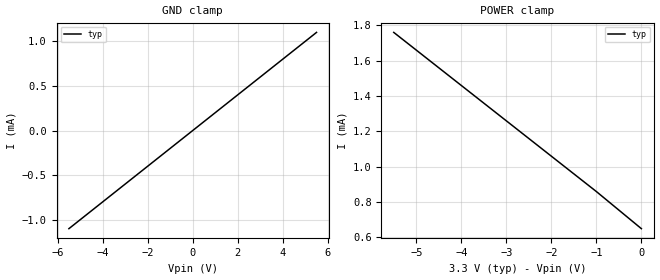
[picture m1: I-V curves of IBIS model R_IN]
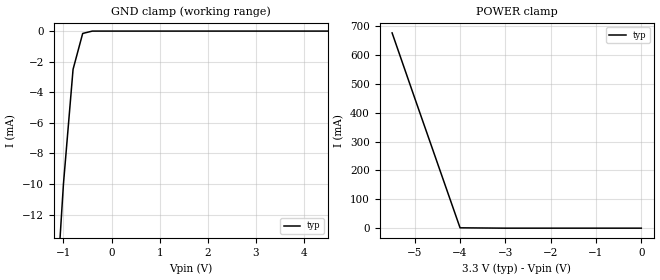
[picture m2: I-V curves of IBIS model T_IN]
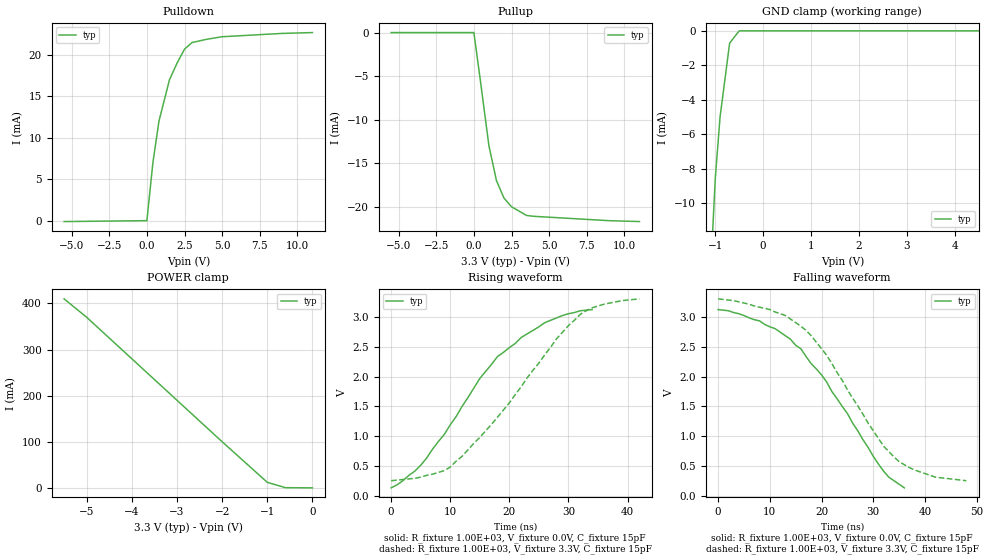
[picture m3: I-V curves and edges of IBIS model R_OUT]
|   Intersil ICL3217
|   24 pin SOIC/SSOP
[IBIS ver]   3.2
[File name]   icl3217.ibs
[File Rev]   2.0
[Date]   July 23, 2003
[Source]   Data used in the IBIS model was gathered from bench
   testing and datasheet specifications. This IBIS model has not
   been software simulated.
[Notes]   This is an IBIS model for EIA-TIA RS-232 Transceiver.
[Disclaimer] Intersil Corporation provides IBIS models as a service to its
                customers, and hereby grants the user of this IBIS model a
                non-exclusive, nontransferable license to use this IBIS model.
                The user shall read this disclaimer and agree to the terms
                herein before using this IBIS model.  If the user does not
                accept these terms, the IBIS model may not be used.  Your use
                of this IBIS model shall serve as acceptance of these terms.
                The user is not granted rights to sell, loan, rent, lease or
                license the IBIS model in whole, in part, or in any modified
                form to anyone other than the user. The user may modify the
                IBIS model to suit their specific application, but all rights
                to derivative works shall belong to Intersil Corporation. This
                IBIS model is provided on an "AS IS" basis. Intersil
                Corporation makes absolutely no warranty with respect to the
                information contained herein. INTERSIL CORPORATION DISCLAIMS,
                AND THE CUSTOMER WAIVES, ALL WARRANTIES, EXPRESSED OR IMPLIED,
                INCLUDING WARRANTIES OF MERCHANTABILITY, NON-INFRINGEMENT, AND
                FITNESS FOR A PARTICULAR PURPOSE OR APPLICATION. The entire
                risk as to quality and performance is with the customer.
                Accordingly, in no event shall Intersil Corporation, its
                subsidiaries, directors, employees, or agents be liable for any
                damages, lost profits, or any other incidental, consequential,
                special, or punitive damages arising out of the use of this
                IBIS model.  Furthermore, Intersil Corporation reserves the
                right to make changes without notice to any IBIS model for any
                reason.  Intersil Corporation does not convey any license under
                patent rights or any other intellectual property rights,
                including those of third parties. Intersil Corporation is not
                obligated to provide maintenance or support for these IBIS
                models.
[Copyright]   (C) Copyright 2003, Intersil Corporation.  All Rights Reserved.
|   Component ICL3217
[Component]   ICL3217
[Manufacturer]   Intersil Corporation
[Package]
|   typ   min   max
R_pkg   0.29   NA   NA
L_pkg   3.10nH   NA   NA
C_pkg   0.21pf   NA   NA
[Pin]  signal_name   model_name   R_pin   L_pin   C_pin
1   T3OUT   T_OUT
2   T1OUT   T_OUT
3   T2OUT   T_OUT
4   R1IN   R_IN
5   R1OUT   R_OUT
6   T2IN   T_IN
7   T1IN   T_IN
8   GND   GND
9   VCC   POWER
10   C1+   NC
11   V+   NC
12   C1-   NC
13   C2+   NC
14   C2-   NC
15   V-   NC
16   R3IN   R_IN
17   R3OUT   R_OUT
18   T3IN   T_IN
19   T4IN   T_IN
20   T5OUT   T_OUT
21   T5IN   T_IN
22   R2OUT   R_OUT
23   R2IN   R_IN
24   T4OUT   T_OUT
| Models and submodels in the file (4): R_IN (Input), T_IN (Input), R_OUT (3-state), T_OUT (3-state)
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|   Receiver Input
[Model]   R_IN
|Signals   R1IN, R2IN, R3IN
Model_type   Input
Enable   Active-High
|   typ   min   max
C_comp   6.90pF   NA   NA
Vinl = 0.6
Vinh = 2.4
[Model Spec]
|   typ   min   max
Vinl   1.2   0.6   NA
Vinh   1.5   NA   2.4
[Temperature Range]   25   -40   85
[Voltage Range]   3.30V   3.00V   5.50V
[POWER Clamp Reference]   3.30V   3.00V   5.50V
[GND Clamp Reference]   0.00V   0.00V   0.00V
[POWER_clamp]
| Note that the[POWER_clamp]voltage table is referenced to Vcc
| and is calculated using Vtable=Vcc - Vmeasured.
|   V   I(typ)   I(min)   I(max)
-5.5V     1.76mA     NA         NA
-5V       1.66mA     NA         NA
-4V       1.46mA     NA         NA
-3V       1.26mA     NA         NA
-2V       1.06mA     NA         NA
-1V       860uA      NA         NA
0V        650uA      NA         NA
[GND_clamp]
|   V   I(typ)   I(min)   I(max)
-5.5V     -1.1mA     NA         NA
3V        600uA      NA         NA
5V        1mA        NA         NA
5.5V      1.1mA      NA         NA
|   Transmitter Input
[Model]   T_IN
|Signals   T1IN, T2IN, T3IN, T4IN, T5IN
Model_type   Input
Enable   Active-High
Vinl = 0.8V
Vinh = 2.0V
|   typ   min   max
C_comp   4.00pF   NA   NA
[Temperature Range]   25   -40   85
[Voltage Range]   3.30V   3.00V   5.50V
[POWER Clamp Reference]   3.30V   3.00V   5.50V
[GND Clamp Reference]   0.00V   0.00V   0.00V
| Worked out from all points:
|   GND clamp passes 1 mA (typ) near -0.67 V on its own axis
[POWER_clamp]
| Note that the[POWER_clamp]voltage table is referenced to Vcc
| and is calculated using Vtable=Vcc - Vmeasured.
|   V   I(typ)   I(min)   I(max)
-5.5V     676mA      NA         NA
-5V       450mA      NA         NA
-4V       1.2mA      NA         NA
-3V       1.25uA     NA         NA
-2V       845nA      NA         NA
-1V       760nA      NA         NA
0V        410nA      NA         NA
[GND_clamp]
|   V   I(typ)   I(min)   I(max)
-5.5V     -258mA     NA         NA
-2V       -60mA      NA         NA
-1V       -10mA      NA         NA
-800mV    -2.5mA     NA         NA
-600mV    -155uA     NA         NA
-400mV    -200nA     NA         NA
5.5V      78.8nA     NA         NA
|   Receiver Output
[Model]   R_OUT
|Signals   R1OUT, R2OUT, R3OUT
Model_type   3-state
Polarity   Inverting
Vref   =   0.00
Rref   =   1.00E+03
Cref   =   15pF
|   typ   min   max
C_comp   3.30pF   NA   NA
[Temperature Range]   25   -40   85
[Voltage Range]   3.30V   3.00V   5.50V
[Pullup Reference]   3.30V   3.00V   5.50V
[Pulldown Reference]   0.00V   0.00V   0.00V
[POWER Clamp Reference]   3.30V   3.00V   5.50V
[GND Clamp Reference]   0.00V   0.00V   0.00V
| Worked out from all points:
|   slope of the pulldown table from 0 to 0.495 V, typ, clamps not added: 60.5 ohm
|   slope of the pullup table from 0 to 0.495 V, typ, clamps not added: 77.9 ohm
|   GND clamp passes 1 mA (typ) near -0.71 V on its own axis
|   rising waveform, R_fixture 1.00E+03, V_fixture 0.0V, C_fixture 15pF: 20-80 % time 13.9ns typ, NA min, NA max; typ from 0.13 V to 3.13 V
|   falling waveform, R_fixture 1.00E+03, V_fixture 0.0V, C_fixture 15pF: 20-80 % time 14.5ns typ, NA min, NA max; typ from 3.13 V to 0.13 V
|   rising waveform, R_fixture 1.00E+03, V_fixture 3.3V, C_fixture 15pF: 20-80 % time 14.7ns typ, NA min, NA max; typ from 0.25 V to 3.31 V
|   falling waveform, R_fixture 1.00E+03, V_fixture 3.3V, C_fixture 15pF: 20-80 % time 13.8ns typ, NA min, NA max; typ from 3.31 V to 0.25 V
[POWER_clamp]
| Note that the[POWER_clamp]voltage table is referenced to Vcc
| and is calculated using Vtable=Vcc - Vmeasured.
|   V   I(typ)   I(min)   I(max)
-5.5V     410mA      NA         NA
-5V       370mA      NA         NA
-4V       280mA      NA         NA
-3V       190mA      NA         NA
-2V       100mA      NA         NA
-1V       12mA       NA         NA
-600mV    380uA      NA         NA
0V        0A         NA         NA
[GND_clamp]
|   V   I(typ)   I(min)   I(max)
-5.5V     -290mA     NA         NA
-1.5V     -36.7mA    NA         NA
-1V       -8.58mA    NA         NA
-900mV    -5mA       NA         NA
-700mV    -712uA     NA         NA
-500mV    -1.27uA    NA         NA
5.5V      544nA      NA         NA
[Pulldown]
|   V   I(typ)   I(min)   I(max)
-5.5V     -110uA     NA         NA
0V        0A         NA         NA
400mV     7mA        NA         NA
800mV     12mA       NA         NA
1.5V      17mA       NA         NA
2V        19mA       NA         NA
2.5V      20.7mA     NA         NA
3V        21.5mA     NA         NA
5V        22.2mA     NA         NA
11V       22.7mA     NA         NA
[Pullup]
| Note that the[Pullup]voltage table is referenced to Vcc
| and is calculated using Vtable=Vcc - Vmeasured.
|   V   I(typ)   I(min)   I(max)
-5.5V     0A         NA         NA
0V        0A         NA         NA
400mV     -5.1mA     NA         NA
1V        -13mA      NA         NA
1.5V      -17mA      NA         NA
2V        -19mA      NA         NA
2.5V      -20mA      NA         NA
3.5V      -21mA      NA         NA
9V        -21.6mA    NA         NA
11V       -21.7mA    NA         NA
[Ramp]
|   typ   min   max
dV/dt_r   1.83V/18.0nS   NA   NA
dV/dt_f   1.81V/23.6nS   NA   NA
R_load = 1.00E+03ohms
[Rising Waveform]
R_fixture = 1.00E+03
V_fixture = 0.0V
C_fixture = 15pF
|   Time   V(typ)   V(min)   V(max)
0s        130mV      NA         NA
4ns       410mV      NA         NA
6ns       630mV      NA         NA
9ns       1.03V      NA         NA
15ns      1.97V      NA         NA
18ns      2.34V      NA         NA
22ns      2.66V      NA         NA
26ns      2.91V      NA         NA
30ns      3.06V      NA         NA
34ns      3.13V      NA         NA
[Falling Waveform]
R_fixture = 1.00E+03
V_fixture = 0.0V
C_fixture = 15pF
|   Time   V(typ)   V(min)   V(max)
0s        3.13V      NA         NA
2ns       3.11V      NA         NA
8ns       2.94V      NA         NA
11ns      2.81V      NA         NA
16ns      2.47V      NA         NA
18ns      2.22V      NA         NA
21ns      1.91V      NA         NA
32ns      410mV      NA         NA
33ns      310mV      NA         NA
36ns      130mV      NA         NA
[Rising Waveform]
R_fixture = 1.00E+03
V_fixture = 3.3V
C_fixture = 15pF
|   Time   V(typ)   V(min)   V(max)
0s        250mV      NA         NA
5ns       310mV      NA         NA
9ns       420mV      NA         NA
10ns      480mV      NA         NA
17ns      1.2V       NA         NA
20ns      1.56V      NA         NA
28ns      2.64V      NA         NA
32ns      3.05V      NA         NA
36ns      3.22V      NA         NA
42ns      3.31V      NA         NA
[Falling Waveform]
R_fixture = 1.00E+03
V_fixture = 3.3V
C_fixture = 15pF
|   Time   V(typ)   V(min)   V(max)
0s        3.31V      NA         NA
10ns      3.13V      NA         NA
16ns      2.85V      NA         NA
21ns      2.36V      NA         NA
29ns      1.22V      NA         NA
32ns      830mV      NA         NA
34ns      650mV      NA         NA
37ns      470mV      NA         NA
42ns      310mV      NA         NA
48ns      250mV      NA         NA
